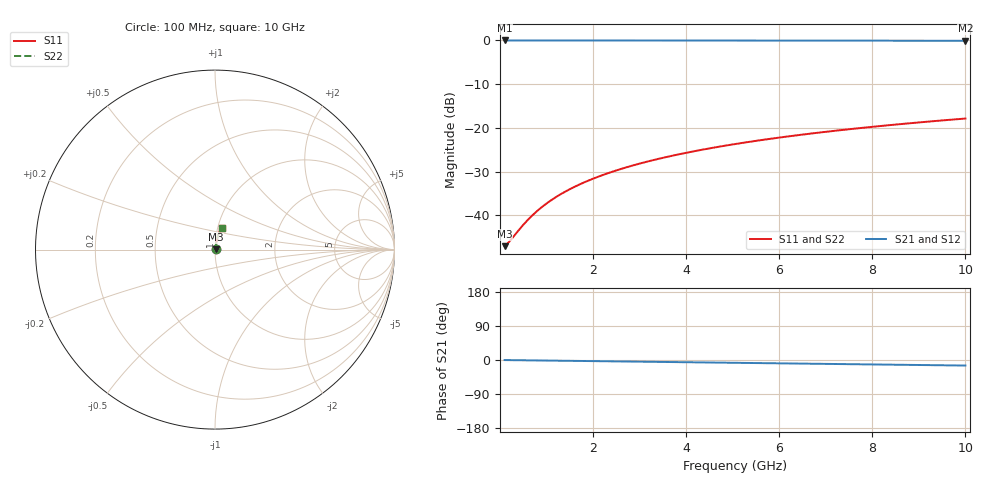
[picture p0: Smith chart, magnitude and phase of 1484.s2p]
# Hz S RI R 50.00
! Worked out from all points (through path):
!   100 points, 100 MHz to 10 GHz, reference 50 ohm
!   highest |S21| = -0.04 dB at 100 MHz (marker M1); lowest = -0.1 dB at 10 GHz (marker M2)
!   group delay of S21, straight-line fit = 4.07 ps
!   lowest |S11| = -47.0 dB at 100 MHz (marker M3), VSWR 1.01, Z = 50.4 + j0.129 ohm
!   |S11| at or under -10 dB: start of sweep to end of sweep
!   |S22| runs from -47.0 to -17.9 dB; largest |S21 - S12| = 0
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1e8  0.00426 0.00128  0.9957 -0.00255  0.9957 -0.00255  0.00426 0.00128
2e8  0.00429 0.00256  0.9957 -0.0051  0.9957 -0.0051  0.00429 0.00256
5e8  0.00441 0.00641  0.9956 -0.0127  0.9956 -0.0127  0.00441 0.00641
6e8  0.00446 0.00769  0.9955 -0.0153  0.9955 -0.0153  0.00446 0.00769
7e8  0.00452 0.00897  0.9954 -0.0178  0.9954 -0.0178  0.00452 0.00897
9e8  0.00464 0.0115  0.9953 -0.0229  0.9953 -0.0229  0.00464 0.0115
1.1e9  0.00479 0.0141  0.9951 -0.028  0.9951 -0.028  0.00479 0.0141
1.3e9  0.00496 0.0166  0.9949 -0.0331  0.9949 -0.0331  0.00496 0.0166
1.5e9  0.00516 0.0192  0.9946 -0.0382  0.9946 -0.0382  0.00516 0.0192
1.8e9  0.0055 0.023  0.9942 -0.0458  0.9942 -0.0458  0.0055 0.023
2.1e9  0.0059 0.0269  0.9937 -0.0535  0.9937 -0.0535  0.0059 0.0269
2.5e9  0.00652 0.0319  0.9929 -0.0636  0.9929 -0.0636  0.00652 0.0319
2.9e9  0.00725 0.037  0.992 -0.0738  0.992 -0.0738  0.00725 0.037
3.4e9  0.0083 0.0433  0.9907 -0.0865  0.9907 -0.0865  0.0083 0.0433
3.8e9  0.00925 0.0484  0.9895 -0.0966  0.9895 -0.0966  0.00925 0.0484
4.2e9  0.0103 0.0534  0.9882 -0.1067  0.9882 -0.1067  0.0103 0.0534
5.1e9  0.0131 0.0646  0.9848 -0.1293  0.9848 -0.1293  0.0131 0.0646
5.9e9  0.0159 0.0744  0.9812 -0.1493  0.9812 -0.1493  0.0159 0.0744
6.7e9  0.0192 0.0841  0.9771 -0.1692  0.9771 -0.1692  0.0192 0.0841
7.5e9  0.0229 0.0936  0.9725 -0.1889  0.9725 -0.1889  0.0229 0.0936
8.4e9  0.0274 0.1041  0.9667 -0.2109  0.9667 -0.2109  0.0274 0.1041
1e10  0.0367 0.1223  0.955 -0.2495  0.955 -0.2495  0.0367 0.1223
